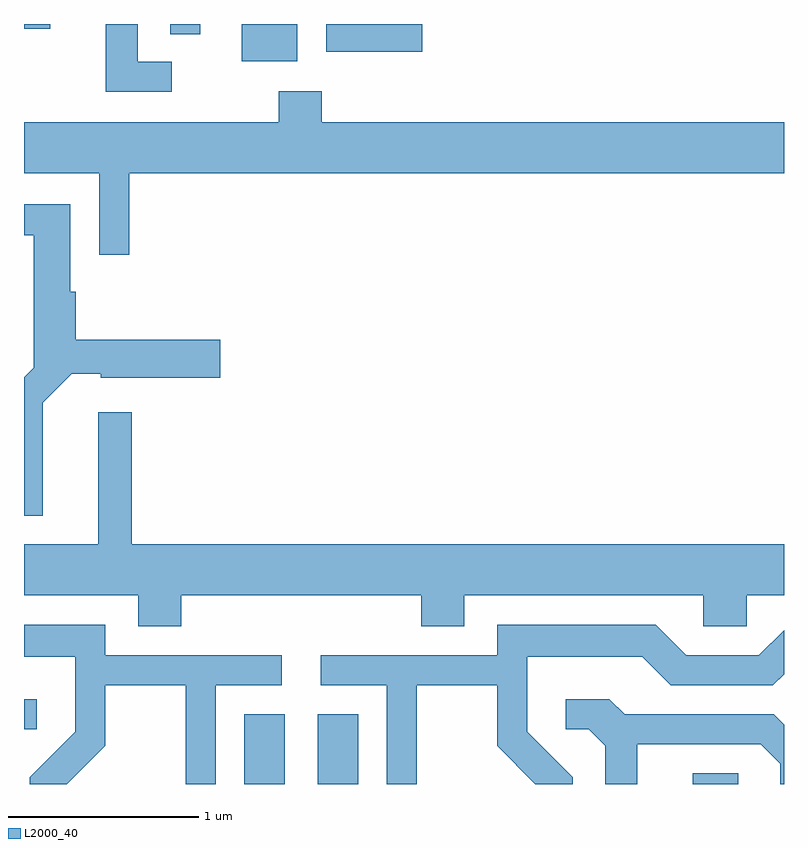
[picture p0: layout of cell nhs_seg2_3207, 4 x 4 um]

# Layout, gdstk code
import gdstk
lib = gdstk.Library(unit=1e-6, precision=1e-09)
def R(c, l, rs):  # rectangles x0, y0, x1, y1
    for r in rs: c.add(gdstk.rectangle(r[:2], r[2:], *l))
def P(c, l, *ps):  # polygons
    for p in ps: c.add(gdstk.Polygon(p, *l))
L2000_40 = (2000, 40)

nhs_seg2_3207 = lib.new_cell('nhs_seg2_3207')
R(nhs_seg2_3207, L2000_40, [(280.771,1011.802,280.984,1012.169), (281.156,1011.802,281.369,1012.169), (283.131,1011.802,283.369,1011.859), (279.611,1012.091,279.678,1012.249), (280.756,1015.606,281.049,1015.802), (281.201,1015.656,281.708,1015.802), (280.381,1015.748,280.539,1015.802), (279.611,1015.776,279.749,1015.802)])
P(nhs_seg2_3207, L2000_40, [(280.388,1015.604),(280.209,1015.604),(280.209,1015.802),(280.041,1015.802),(280.041,1015.446),(280.388,1015.446)],
  [(280.164,1015.016),(283.611,1015.016),(283.611,1015.284),(281.179,1015.284),(281.179,1015.449),(280.951,1015.449),(280.951,1015.284),(279.611,1015.284),(279.611,1015.016),(280.006,1015.016),(280.006,1014.588),(280.164,1014.588)],
  [(279.709,1013.809),(279.862,1013.961),(280.016,1013.961),(280.016,1013.941),(280.644,1013.941),(280.644,1014.139),(279.884,1014.139),(279.884,1014.394),(279.854,1014.394),(279.854,1014.854),(279.611,1014.854),(279.611,1014.691),(279.661,1014.691),(279.661,1013.992),(279.611,1013.942),(279.611,1013.213),(279.709,1013.213)],
  [(280.439,1012.796),(281.701,1012.796),(281.701,1012.631),(281.929,1012.631),(281.929,1012.796),(283.186,1012.796),(283.186,1012.631),(283.414,1012.631),(283.414,1012.796),(283.611,1012.796),(283.611,1013.064),(280.179,1013.064),(280.179,1013.759),(280.001,1013.759),(280.001,1013.064),(279.611,1013.064),(279.611,1012.796),(280.211,1012.796),(280.211,1012.631),(280.439,1012.631)],
  [(280.039,1012.004),(280.039,1012.321),(280.461,1012.321),(280.461,1011.802),(280.619,1011.802),(280.619,1012.321),(280.968,1012.321),(280.968,1012.479),(280.039,1012.479),(280.039,1012.639),(279.611,1012.639),(279.611,1012.471),(279.881,1012.471),(279.881,1012.077),(279.641,1011.837),(279.641,1011.802),(279.837,1011.802)],
  [(281.679,1012.321),(282.101,1012.321),(282.101,1012.004),(282.303,1011.802),(282.499,1011.802),(282.499,1011.837),(282.259,1012.077),(282.259,1012.471),(282.864,1012.471),(283.014,1012.321),(283.552,1012.321),(283.611,1012.38),(283.611,1012.611),(283.479,1012.479),(283.097,1012.479),(282.937,1012.639),(282.101,1012.639),(282.101,1012.479),(281.173,1012.479),(281.173,1012.321),(281.521,1012.321),(281.521,1011.802),(281.679,1011.802)],
  [(282.839,1012.011),(283.489,1012.011),(283.591,1011.909),(283.591,1011.802),(283.611,1011.802),(283.611,1012.115),(283.557,1012.169),(282.772,1012.169),(282.692,1012.249),(282.463,1012.249),(282.463,1012.091),(282.584,1012.091),(282.671,1012.004),(282.671,1011.802),(282.839,1011.802)])

lib.write_gds('nhs_seg2_3207.gds')
